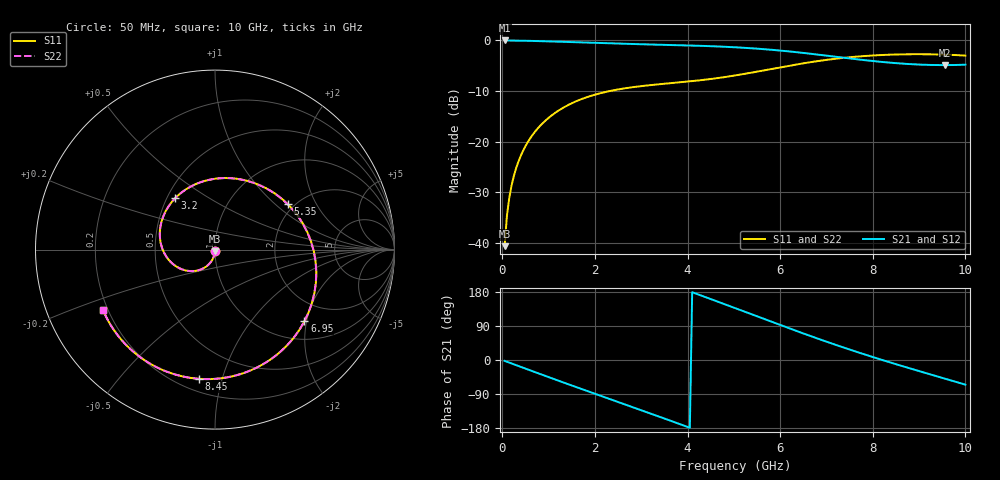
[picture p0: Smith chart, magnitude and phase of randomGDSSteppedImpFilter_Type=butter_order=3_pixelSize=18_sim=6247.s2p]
! freq	dB(S11)	phase(S11)	dB(S12)	phase(S12)
!  dB(S21)	phase(S21)	dB(S22)	phase(S22)
!S-par simulation data
#  GHz  S  DB  R 50
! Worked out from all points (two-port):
!   200 points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, 50 MHz to 10 GHz, reference 50 ohm
!   highest |S21| = 0.00 dB at 50 MHz (marker M1); lowest = -4.9 dB at 9.55 GHz (marker M2)
!   |S21| within 3 dB of the highest: start of sweep to 7.004 GHz
!   lowest |S11| = -40.6 dB at 50 MHz (marker M3), VSWR 1.02, Z = 50 - j0.93 ohm
!   |S11| at or under -10 dB: start of sweep to 2.316 GHz
!   |S22| runs from -40.6 to -2.7 dB; largest |S21 - S12| = 0
!   S11 on the Smith chart (normalised r, x): 50 MHz: 1.00, -0.02; 3.2 GHz: 0.55, +0.36; 5.35 GHz: 1.85, +1.21; 6.95 GHz: 1.44, -1.94; 8.45 GHz: 0.28, -0.85; 10 GHz: 0.18, -0.25
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0.05  -40.61 -92.0  -0.00 -2.3  -0.00 -2.3  -40.61 -92.0
0.1  -34.61 -94.5  -0.01 -4.6  -0.01 -4.6  -34.61 -94.5
0.2  -28.65 -99.3  -0.02 -9.1  -0.02 -9.1  -28.65 -99.3
0.35  -23.87 -106.3  -0.04 -15.9  -0.04 -15.9  -23.87 -106.4
0.5  -20.87 -113.3  -0.06 -22.7  -0.06 -22.7  -20.87 -113.3
1.15  -14.24 -142.6  -0.23 -51.8  -0.23 -51.8  -14.24 -142.7
1.75  -11.45 -169.0  -0.41 -78.2  -0.41 -78.2  -11.45 -169.2
2.45  -9.76 160.6  -0.62 -108.6  -0.62 -108.6  -9.76 160.4
3.2  -8.82 128.0  -0.80 -141.2  -0.80 -141.2  -8.82 127.6
3.4  -8.64 119.2  -0.84 -150.0  -0.84 -150.0  -8.64 118.8
4.2  -7.94 83.8  -1.04 174.5  -1.04 174.5  -7.93 83.3
4.6  -7.49 65.8  -1.17 156.4  -1.17 156.4  -7.49 65.3
5.05  -6.88 45.5  -1.36 135.9  -1.36 135.9  -6.88 45.0
5.35  -6.41 31.9  -1.52 122.1  -1.52 122.1  -6.41 31.4
6  -5.32 2.6  -2.00 92.4  -2.00 92.4  -5.32 2.2
6.7  -4.23 -28.1  -2.67 61.3  -2.67 61.3  -4.23 -28.4
6.95  -3.90 -38.6  -2.94 50.5  -2.94 50.5  -3.90 -38.9
7.6  -3.24 -65.0  -3.66 23.6  -3.66 23.6  -3.24 -65.3
8.35  -2.82 -93.4  -4.37 -5.5  -4.37 -5.5  -2.82 -93.6
8.45  -2.79 -97.0  -4.45 -9.2  -4.45 -9.2  -2.79 -97.2
9.55  -2.80 -135.8  -4.87 -48.9  -4.87 -48.9  -2.80 -135.9
10  -2.99 -151.6  -4.79 -65.1  -4.79 -65.1  -2.99 -151.7
